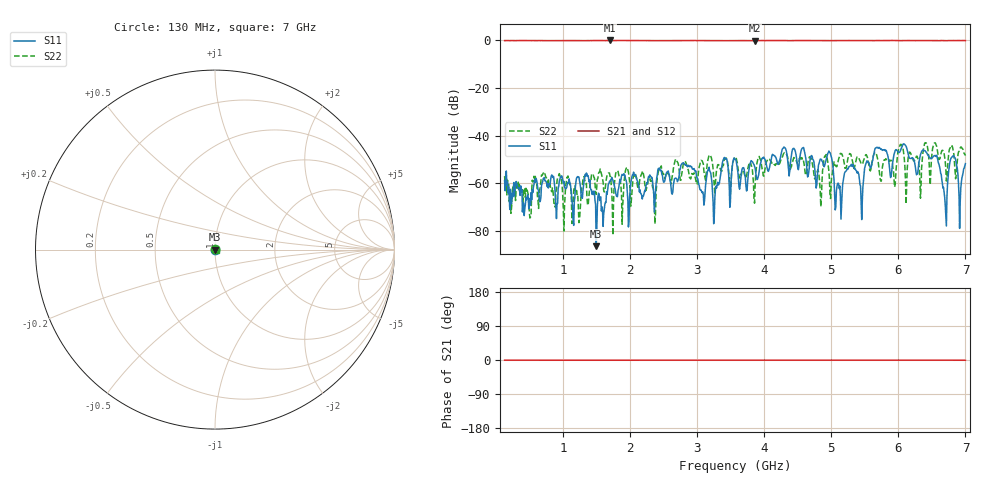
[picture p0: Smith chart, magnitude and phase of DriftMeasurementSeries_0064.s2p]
# Hz S RI R 50.000000
! Metas.Vna.Tools, 2.8.8664.20301
! Metas.Vna.Data, 2.8.8664.20285
! Created: UTC 2024.02.11 10:08:32
! FREQ  re:S1,1  im:S1,1  re:S2,1  im:S2,1  re:S1,2  im:S1,2  re:S2,2  im:S2,2
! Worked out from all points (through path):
!   801 points, 130 MHz to 7 GHz, reference 50 ohm
!   highest |S21| = -0.05 dB at 1.702 GHz (marker M1); lowest = -0.2 dB at 3.866 GHz (marker M2)
!   lowest |S11| = -86.5 dB at 1.495 GHz (marker M3), VSWR 1.00, Z = 50 - j0.001 ohm
!   |S11| at or under -10 dB: start of sweep to end of sweep
!   |S22| runs from -81.8 to -43.0 dB; largest |S21 - S12| = 0.019
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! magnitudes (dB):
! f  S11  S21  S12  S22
! 130 MHz  -58.9  -0.1  0.0  -57.0
! 1.281 GHz  -65.4  -0.1  0.0  -62.1
! 1.495 GHz  -86.5  -0.1  0.0  -64.7
! 1.702 GHz  -59.3  0.0  0.0  -57.1
! 2.423 GHz  -53.8  -0.1  0.0  -55.0
! 3.084 GHz  -63.6  -0.1  0.0  -51.2
! 3.179 GHz  -53.3  -0.1  0.0  -48.3
! 3.264 GHz  -66.2  -0.1  0.0  -64.7
! 3.565 GHz  -50.0  -0.1  0.0  -49.0
! 3.866 GHz  -53.7  -0.2  0.0  -60.5
! 4.716 GHz  -48.8  -0.1  0.0  -51.4
! 4.982 GHz  -47.2  -0.1  0.0  -65.6
! 5.128 GHz  -61.2  -0.1  0.0  -48.0
! 5.291 GHz  -52.6  -0.1  0.0  -47.8
! 5.454 GHz  -75.3  -0.1  0.0  -52.0
! 5.686 GHz  -44.9  -0.1  0.0  -49.2
! 5.858 GHz  -50.8  -0.1  0.0  -50.8
! 6.553 GHz  -48.4  -0.1  0.0  -43.1
! 6.699 GHz  -69.1  -0.1  0.0  -50.8
! 6.802 GHz  -48.9  -0.1  0.0  -44.3
! 6.923 GHz  -68.0  -0.1  0.0  -45.2
! 7 GHz  -51.8  -0.1  0.0  -48.4
